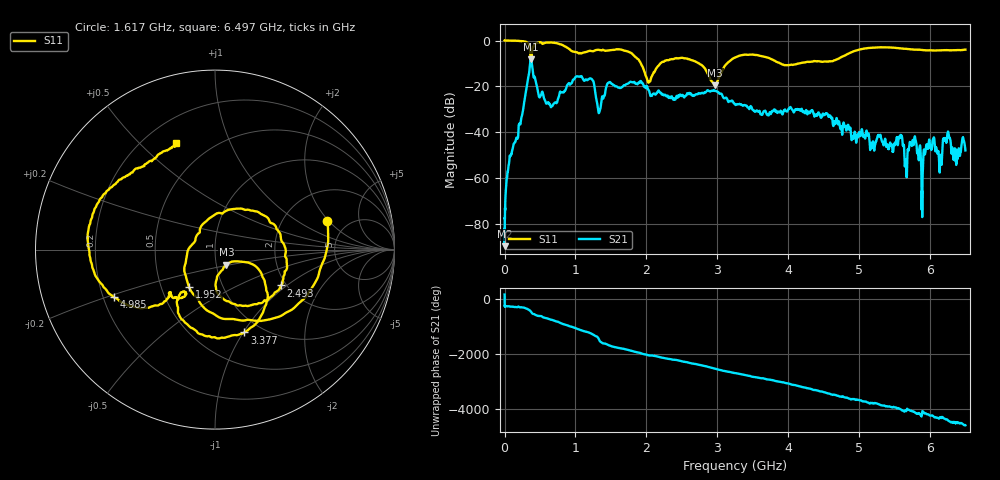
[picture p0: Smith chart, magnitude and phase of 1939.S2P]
!Keysight Technologies,E5063A,MY54503115,A.05.08
!Date: Mon Dec 04 18:00:56 2023
!Data & Calibration Information:
!Freq	S11:NONE(--)	S21:NONE(--)	S12:NONE(--)	S22:NONE(--)
# Hz S dB R 50
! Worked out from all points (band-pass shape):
!   10001 points, 100 kHz to 6.5 GHz, reference 50 ohm
!   highest |S21| = -8.24 dB at 368.6 MHz (marker M1); lowest = -89.8 dB at 1.4 MHz (marker M2)
!   |S21| within 3 dB of the highest: 355.5 MHz to 389.8 MHz (34.33 MHz wide, 9.21 % of centre)
!   lowest |S11| = -19.6 dB at 2.969 GHz (marker M3), VSWR 1.23, Z = 55.9 - j9.42 ohm
!   |S11| at or under -10 dB: 1.922 GHz to 2.197 GHz (274.8 MHz wide, 13.3 % of centre); 2.744 GHz to 3.138 GHz (394.9 MHz wide, 13.4 % of centre); 3.892 GHz to 4.153 GHz (260.7 MHz wide, 6.48 % of centre) (the widest 3 of 4)
!   S12 and S22 are empty: the file has one direction only
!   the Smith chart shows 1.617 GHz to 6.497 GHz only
!   S11 on the Smith chart (normalised r, x): 1.617 GHz: 3.54, +1.91; 1.952 GHz: 0.69, -0.31; 2.493 GHz: 1.88, -0.91; 3.377 GHz: 0.83, -1.01; 4.985 GHz: 0.24, -0.21; 6.497 GHz: 0.33, +0.65
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100000  0.04 -0.5  -86.69 145.3  -200.00 0.0  -200.00 0.0
1399980  0.00 -0.8  -89.79 -107.4  -200.00 0.0  -200.00 0.0
2.327964e8  -0.20 -76.4  -34.28 47.9  -200.00 0.0  -200.00 0.0
3.686443e8  -9.70 -137.0  -8.24 -109.1  -200.00 0.0  -200.00 0.0
5.811911e8  -0.93 172.0  -27.20 15.9  -200.00 0.0  -200.00 0.0
7.313388e8  -1.09 97.2  -27.33 -105.4  -200.00 0.0  -200.00 0.0
8.762865e8  -2.98 2.3  -19.93 125.6  -200.00 0.0  -200.00 0.0
1.083633e9  -5.62 -155.6  -15.53 -66.9  -200.00 0.0  -200.00 0.0
1.31438e9  -4.05 99.1  -29.40 40.1  -200.00 0.0  -200.00 0.0
1.617275e9  -3.81 14.1  -20.67 15.1  -200.00 0.0  -200.00 0.0
1.95202e9  -11.88 -124.6  -18.85 162.7  -200.00 0.0  -200.00 0.0
2.167167e9  -11.12 52.7  -21.93 63.7  -200.00 0.0  -200.00 0.0
2.493462e9  -7.56 -28.5  -24.11 -99.4  -200.00 0.0  -200.00 0.0
2.968604e9  -19.62 -52.9  -22.03 -7.5  -200.00 0.0  -200.00 0.0
3.25005e9  -7.44 -49.3  -27.86 -168.9  -200.00 0.0  -200.00 0.0
3.376798e9  -6.20 -70.4  -28.19 130.5  -200.00 0.0  -200.00 0.0
4.333583e9  -9.20 -130.0  -30.68 -28.6  -200.00 0.0  -200.00 0.0
4.984873e9  -4.11 -154.8  -42.31 -53.5  -200.00 0.0  -200.00 0.0
5.417117e9  -3.00 162.2  -47.25 67.5  -200.00 0.0  -200.00 0.0
5.900709e9  -4.17 132.5  -56.04 -119.3  -200.00 0.0  -200.00 0.0
6.4974e9  -3.96 110.2  -47.25 104.9  -200.00 0.0  -200.00 0.0
6.5e9  -3.96 110.1  -47.98 108.5  -200.00 0.0  -200.00 0.0
